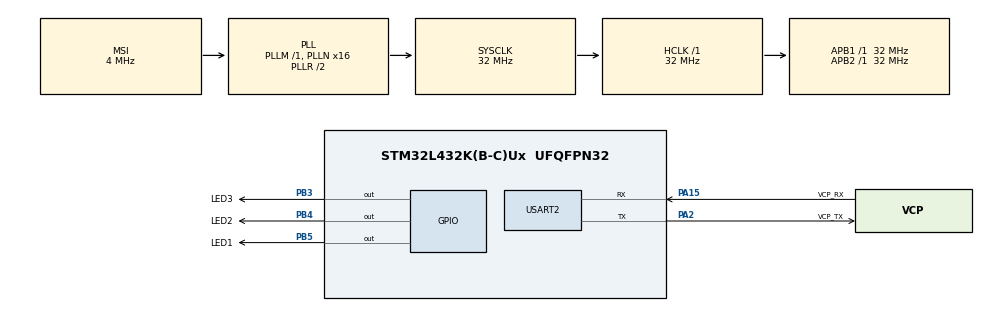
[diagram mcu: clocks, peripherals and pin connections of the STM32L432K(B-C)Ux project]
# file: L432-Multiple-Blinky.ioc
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Mcu.Family=STM32L4
Mcu.Name=STM32L432K(B-C)Ux
Mcu.Package=UFQFPN32
NVIC.PriorityGroup=NVIC_PRIORITYGROUP_4
PA0.GPIO_Label=MCO [High speed clock in]
PA0.Mode=HSE-External-Clock-Source-for-LittleOrca
PA0.Signal=RCC_CK_IN
PA13\ (JTMS-SWDIO).GPIO_Label=SWDIO
PA13\ (JTMS-SWDIO).Mode=Serial_Wire
PA13\ (JTMS-SWDIO).Signal=SYS_JTMS-SWDIO
PA14\ (JTCK-SWCLK).GPIO_Label=SWCLK
PA14\ (JTCK-SWCLK).Mode=Serial_Wire
PA14\ (JTCK-SWCLK).Signal=SYS_JTCK-SWCLK
PA15\ (JTDI).GPIO_Label=VCP_RX
PA15\ (JTDI).Mode=Asynchronous
PA15\ (JTDI).Signal=USART2_RX
PA2.GPIO_Label=VCP_TX
PA2.Mode=Asynchronous
PA2.Signal=USART2_TX
PB3\ (JTDO-TRACESWO).GPIO_Label=LED3
PB3\ (JTDO-TRACESWO).Signal=GPIO_Output
PB4\ (NJTRST).GPIO_Label=LED2
PB4\ (NJTRST).Signal=GPIO_Output
PB5.GPIO_Label=LED1
PB5.Signal=GPIO_Output
PC14-OSC32_IN\ (PC14).Mode=LSE-External-Oscillator
PC14-OSC32_IN\ (PC14).Signal=RCC_OSC32_IN
PC15-OSC32_OUT\ (PC15).Mode=LSE-External-Oscillator
PC15-OSC32_OUT\ (PC15).Signal=RCC_OSC32_OUT
ProjectManager.HeapSize=0x200
ProjectManager.StackSize=0x400
ProjectManager.TargetToolchain=STM32CubeIDE
RCC.AHBFreq_Value=32000000
RCC.APB1Freq_Value=32000000
RCC.APB1TimFreq_Value=32000000
RCC.APB2Freq_Value=32000000
RCC.APB2TimFreq_Value=32000000
RCC.CortexFreq_Value=32000000
RCC.HCLKFreq_Value=32000000
RCC.HSE_VALUE=8000000
RCC.HSI16_VALUE=16000000
RCC.HSI48_VALUE=48000000
RCC.HSI_VALUE=16000000
RCC.MSI_VALUE=4000000
RCC.PLLMUL=RCC_PLLMUL_4
RCC.PLLN=16
RCC.SYSCLKFreq_VALUE=32000000
RCC.SYSCLKSource=RCC_SYSCLKSOURCE_PLLCLK
RCC.VCOOutputFreq_Value=64000000
USART2.VirtualMode-Asynchronous=VM_ASYNC
board=NUCLEO-L432KC

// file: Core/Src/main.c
/* USER CODE BEGIN Header */
/**
  ******************************************************************************
  * @file           : main.c
  * @brief          : Main program body
  ******************************************************************************
  * @attention
  *
  * Copyright (c) 2026 STMicroelectronics.
  * All rights reserved.
  *
  * This software is licensed under terms that can be found in the LICENSE file
  * in the root directory of this software component.
  * If no LICENSE file comes with this software, it is provided AS-IS.
  *
  ******************************************************************************
  */
/* USER CODE END Header */
#include "main.h"

UART_HandleTypeDef huart2;

void SystemClock_Config(void);
static void MX_GPIO_Init(void);
static void MX_USART2_UART_Init(void);
/* USER CODE BEGIN PFP */
uint32_t GetSystemTime(void);
/* USER CODE END PFP */

int main(void)
{

  /* MCU Configuration--------------------------------------------------------*/

  /* Reset of all peripherals, Initializes the Flash interface and the Systick. */
  HAL_Init();

  /* Configure the system clock */
  SystemClock_Config();

  /* Initialize all configured peripherals */
  MX_GPIO_Init();
  MX_USART2_UART_Init();
  /* USER CODE BEGIN 2 */
  uint32_t CurrentTime = 0;

  uint32_t LastEventOneTime = 0;
  uint32_t ElapsedEventOneTime = 0;
  uint32_t EventOneFrequency = 1000;

  uint32_t LastEventTwoTime = 0;
  uint32_t ElapsedEventTwoTime = 0;
  uint32_t EventTwoFrequency = 2000;

  uint32_t LastEventThreeTime = 0;
  uint32_t ElapsedEventThreeTime = 0;
  uint32_t EventThreeFrequency = 3000;
  /* USER CODE END 2 */

  /* Infinite loop */
  /* USER CODE BEGIN WHILE */
  while (1)
  {
	  // get current system timne
	  CurrentTime = GetSystemTime();

	  // *******************************************
	  // EVENT ONE
	  // *******************************************
	  // now calculate elapsed time for event one
	  if (CurrentTime >= LastEventOneTime)
	  {
		  ElapsedEventOneTime = CurrentTime - LastEventOneTime;
	  }
	  else
	  // cater for 32 bit wrap round
	  {
		  ElapsedEventOneTime = 0xFFFFFFFF - LastEventOneTime + CurrentTime;
	  }

	  // if the elapsed time is the event frequency act
	  if (ElapsedEventOneTime >= EventOneFrequency)
	  {
		  HAL_GPIO_TogglePin(LED1_GPIO_Port, LED1_Pin);
		  LastEventOneTime = CurrentTime;
	  }

	  // *******************************************
	  // EVENT TWO
	  // *******************************************
	  // now calculate elapsed time for event two
	  if (CurrentTime >= LastEventTwoTime)
	  {
		  ElapsedEventTwoTime = CurrentTime - LastEventTwoTime;
	  }
	  else
	  // cater for 32 bit wrap round
	  {
		  ElapsedEventTwoTime = 0xFFFFFFFF - LastEventTwoTime + CurrentTime;
	  }

	  // if the elapsed time is the event frequency act
	  if (ElapsedEventTwoTime >= EventTwoFrequency)
	  {
		  HAL_GPIO_TogglePin(LED2_GPIO_Port, LED2_Pin);
		  LastEventTwoTime = CurrentTime;
	  }

	  // *******************************************
	  // EVENT THREE
	  // *******************************************
	  // now calculate elapsed time for event three
	  if (CurrentTime >= LastEventThreeTime)
	  {
		  ElapsedEventThreeTime = CurrentTime - LastEventThreeTime;
	  }
	  else
	  // cater for 32 bit wrap round
	  {
		  ElapsedEventThreeTime = 0xFFFFFFFF - LastEventThreeTime + CurrentTime;
	  }

	  // if the elapsed time is the event frequency act
	  if (ElapsedEventThreeTime >= EventThreeFrequency)
	  {
		  HAL_GPIO_TogglePin(LED3_GPIO_Port, LED3_Pin);
		  LastEventThreeTime = CurrentTime;
	  }

    /* USER CODE END WHILE */

  }
}

void SystemClock_Config(void)
{
  RCC_OscInitTypeDef RCC_OscInitStruct = {0};
  RCC_ClkInitTypeDef RCC_ClkInitStruct = {0};

  /** Configure the main internal regulator output voltage
  */
  if (HAL_PWREx_ControlVoltageScaling(PWR_REGULATOR_VOLTAGE_SCALE1) != HAL_OK)
  {
    Error_Handler();
  }

  /** Configure LSE Drive Capability
  */
  HAL_PWR_EnableBkUpAccess();
  __HAL_RCC_LSEDRIVE_CONFIG(RCC_LSEDRIVE_LOW);

  /** Initializes the RCC Oscillators according to the specified parameters
  * in the RCC_OscInitTypeDef structure.
  */
  RCC_OscInitStruct.OscillatorType = RCC_OSCILLATORTYPE_LSE|RCC_OSCILLATORTYPE_MSI;
  RCC_OscInitStruct.LSEState = RCC_LSE_ON;
  RCC_OscInitStruct.MSIState = RCC_MSI_ON;
  RCC_OscInitStruct.MSICalibrationValue = 0;
  RCC_OscInitStruct.MSIClockRange = RCC_MSIRANGE_6;
  RCC_OscInitStruct.PLL.PLLState = RCC_PLL_ON;
  RCC_OscInitStruct.PLL.PLLSource = RCC_PLLSOURCE_MSI;
  RCC_OscInitStruct.PLL.PLLM = 1;
  RCC_OscInitStruct.PLL.PLLN = 16;
  RCC_OscInitStruct.PLL.PLLP = RCC_PLLP_DIV7;
  RCC_OscInitStruct.PLL.PLLQ = RCC_PLLQ_DIV2;
  RCC_OscInitStruct.PLL.PLLR = RCC_PLLR_DIV2;
  if (HAL_RCC_OscConfig(&RCC_OscInitStruct) != HAL_OK)
  {
    Error_Handler();
  }

  /** Initializes the CPU, AHB and APB buses clocks
  */
  RCC_ClkInitStruct.ClockType = RCC_CLOCKTYPE_HCLK|RCC_CLOCKTYPE_SYSCLK
                              |RCC_CLOCKTYPE_PCLK1|RCC_CLOCKTYPE_PCLK2;
  RCC_ClkInitStruct.SYSCLKSource = RCC_SYSCLKSOURCE_PLLCLK;
  RCC_ClkInitStruct.AHBCLKDivider = RCC_SYSCLK_DIV1;
  RCC_ClkInitStruct.APB1CLKDivider = RCC_HCLK_DIV1;
  RCC_ClkInitStruct.APB2CLKDivider = RCC_HCLK_DIV1;

  if (HAL_RCC_ClockConfig(&RCC_ClkInitStruct, FLASH_LATENCY_1) != HAL_OK)
  {
    Error_Handler();
  }

  /** Enable MSI Auto calibration
  */
  HAL_RCCEx_EnableMSIPLLMode();
}

static void MX_USART2_UART_Init(void)
{

  huart2.Instance = USART2;
  huart2.Init.BaudRate = 115200;
  huart2.Init.WordLength = UART_WORDLENGTH_8B;
  huart2.Init.StopBits = UART_STOPBITS_1;
  huart2.Init.Parity = UART_PARITY_NONE;
  huart2.Init.Mode = UART_MODE_TX_RX;
  huart2.Init.HwFlowCtl = UART_HWCONTROL_NONE;
  huart2.Init.OverSampling = UART_OVERSAMPLING_16;
  huart2.Init.OneBitSampling = UART_ONE_BIT_SAMPLE_DISABLE;
  huart2.AdvancedInit.AdvFeatureInit = UART_ADVFEATURE_NO_INIT;
  if (HAL_UART_Init(&huart2) != HAL_OK)
  {
    Error_Handler();
  }

}

static void MX_GPIO_Init(void)
{
  GPIO_InitTypeDef GPIO_InitStruct = {0};

  /* GPIO Ports Clock Enable */
  __HAL_RCC_GPIOC_CLK_ENABLE();
  __HAL_RCC_GPIOA_CLK_ENABLE();
  __HAL_RCC_GPIOB_CLK_ENABLE();

  /*Configure GPIO pin Output Level */
  HAL_GPIO_WritePin(GPIOB, LED3_Pin|LED2_Pin|LED1_Pin, GPIO_PIN_RESET);

  /*Configure GPIO pins : LED3_Pin LED2_Pin LED1_Pin */
  GPIO_InitStruct.Pin = LED3_Pin|LED2_Pin|LED1_Pin;
  GPIO_InitStruct.Mode = GPIO_MODE_OUTPUT_PP;
  GPIO_InitStruct.Pull = GPIO_NOPULL;
  GPIO_InitStruct.Speed = GPIO_SPEED_FREQ_LOW;
  HAL_GPIO_Init(GPIOB, &GPIO_InitStruct);

}

/* USER CODE BEGIN 4 */
uint32_t GetSystemTime(void)
{
	return HAL_GetTick();
}
/* USER CODE END 4 */

void Error_Handler(void)
{
  __disable_irq();
  while (1)
  {
  }
}
